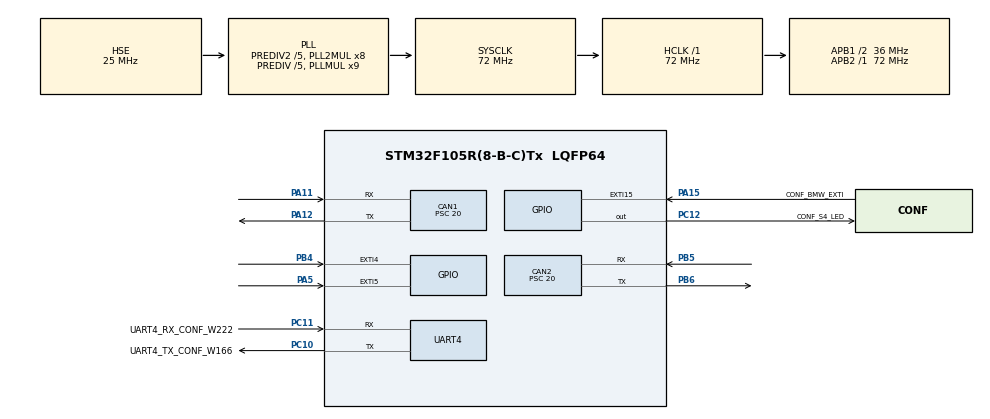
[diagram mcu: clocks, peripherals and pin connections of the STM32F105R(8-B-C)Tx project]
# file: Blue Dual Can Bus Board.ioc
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CAN1.BS1=CAN_BS1_11TQ
CAN1.BS2=CAN_BS2_6TQ
CAN1.CalculateBaudRate=100000
CAN1.CalculateTimeBit=10000
CAN1.CalculateTimeQuantum=555.5555555555555
CAN1.Prescaler=20
CAN2.BS1=CAN_BS1_11TQ
CAN2.BS2=CAN_BS2_6TQ
CAN2.CalculateBaudRate=100000
CAN2.CalculateTimeBit=10000
CAN2.CalculateTimeQuantum=555.5555555555555
CAN2.Prescaler=20
IWDG.Prescaler=IWDG_PRESCALER_64
Mcu.Family=STM32F1
Mcu.Name=STM32F105R(8-B-C)Tx
Mcu.Package=LQFP64
NVIC.CAN1_RX0_IRQn=true\:0\:0\:false\:false\:true\:true\:true
NVIC.CAN2_RX1_IRQn=true\:0\:0\:false\:false\:true\:true\:true
NVIC.EXTI15_10_IRQn=true\:0\:0\:false\:false\:true\:true\:true
NVIC.EXTI4_IRQn=true\:0\:0\:false\:false\:true\:true\:true
NVIC.EXTI9_5_IRQn=true\:0\:0\:false\:false\:true\:true\:true
NVIC.PriorityGroup=NVIC_PRIORITYGROUP_4
NVIC.UART4_IRQn=true\:0\:0\:false\:false\:true\:true\:true
PA11.Mode=CAN_Activate
PA11.Signal=CAN1_RX
PA12.Mode=CAN_Activate
PA12.Signal=CAN1_TX
PA13.Mode=Serial_Wire
PA13.Signal=SYS_JTMS-SWDIO
PA14.Mode=Serial_Wire
PA14.Signal=SYS_JTCK-SWCLK
PA15.GPIO_Label=CONF_BMW_EXTI
PA15.GPIO_ModeDefaultEXTI=GPIO_MODE_IT_RISING_FALLING
PA15.Signal=GPXTI15
PA5.GPIO_ModeDefaultEXTI=GPIO_MODE_IT_RISING_FALLING
PA5.Signal=GPXTI5
PB4.GPIO_ModeDefaultEXTI=GPIO_MODE_IT_RISING_FALLING
PB4.Signal=GPXTI4
PB5.Mode=CAN_Activate
PB5.Signal=CAN2_RX
PB6.Mode=CAN_Activate
PB6.Signal=CAN2_TX
PC10.GPIO_Label=UART4_TX_CONF_W166
PC10.Mode=Asynchronous
PC10.Signal=UART4_TX
PC11.GPIO_Label=UART4_RX_CONF_W222
PC11.Mode=Asynchronous
PC11.Signal=UART4_RX
PC12.GPIO_Label=CONF_S4_LED
PC12.Signal=GPIO_Output
PD0-OSC_IN.Mode=HSE-External-Oscillator
PD0-OSC_IN.Signal=RCC_OSC_IN
PD1-OSC_OUT.Mode=HSE-External-Oscillator
PD1-OSC_OUT.Signal=RCC_OSC_OUT
ProjectManager.HeapSize=0x200
ProjectManager.StackSize=0x400
ProjectManager.TargetToolchain=STM32CubeIDE
RCC.AHBFreq_Value=72000000
RCC.APB1CLKDivider=RCC_HCLK_DIV2
RCC.APB1Freq_Value=36000000
RCC.APB1TimFreq_Value=72000000
RCC.APB2Freq_Value=72000000
RCC.APB2TimFreq_Value=72000000
RCC.HCLKFreq_Value=72000000
RCC.HSEDivPLL=RCC_HSE_PREDIV_DIV5
RCC.HSE_VALUE=25000000
RCC.PLLMUL=RCC_PLL_MUL9
RCC.PLLSourceVirtual=RCC_PLLSOURCE_HSE
RCC.Prediv1Source=RCC_PREDIV1_SOURCE_PLL2
RCC.Prediv2=RCC_HSE_PREDIV2_DIV5
RCC.SYSCLKFreq_VALUE=72000000
RCC.SYSCLKSource=RCC_SYSCLKSOURCE_PLLCLK
RCC.USBFreq_Value=48000000
UART4.VirtualMode=Asynchronous
VP_IWDG_VS_IWDG.Mode=IWDG_Activate
board=custom

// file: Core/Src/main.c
/* USER CODE BEGIN Header */
/**
  ******************************************************************************
  * @file           : main.c
  * @brief          : Main program body
  ******************************************************************************
  * @attention
  *
  * Copyright (c) 2022 STMicroelectronics.
  * All rights reserved.
  *
  * This software is licensed under terms that can be found in the LICENSE file
  * in the root directory of this software component.
  * If no LICENSE file comes with this software, it is provided AS-IS.
  *
  ******************************************************************************
  */
/* USER CODE END Header */
#include "main.h"

CAN_HandleTypeDef hcan1;
CAN_HandleTypeDef hcan2;

IWDG_HandleTypeDef hiwdg;

UART_HandleTypeDef huart4;

/* USER CODE BEGIN PV */
CAN_RxHeaderTypeDef can1_rxHeader; //CAN Bus Rx Header
CAN_RxHeaderTypeDef can2_rxHeader; //CAN Bus Rx Header

CAN_TxHeaderTypeDef can1_txHeader; //CAN Bus Tx Header
CAN_TxHeaderTypeDef can2_txHeader; //CAN Bus Tx Header

uint8_t can1_RX[8] = {0,0,0,0,0,0,0,0};  //CAN1 Bus Receive Buffer
uint8_t can1_TX[8] = {0,0,0,0,0,0,0,0};  //CAN1 Bus Transmit Buffer

uint8_t can2_RX[8] = {0,0,0,0,0,0,0,0};  //CAN2 Bus Receive Buffer
uint8_t can2_TX[8] = {0,0,0,0,0,0,0,0};  //CAN2 Bus Transmit Buffer

CAN_FilterTypeDef canfil; //CAN Bus Filter

uint32_t can1_Mailbox; //CAN Bus Mail box variable
uint32_t can2_Mailbox; //CAN Bus Mail box variable

// just enough for one char to change modes
uint8_t serial_mode[1] = {0};
uint8_t num_str[4] = {0,0,0,0};

// keep some variables in SRAM that survive a reset (as long as power remains)
// https://interrupt.memfault.com/blog/noinit-memory
uint config_loss;
// For GCC or Clang or derived toolchains, use the "section" __attribute__ .
//__attribute__((section(".noinit"))) volatile int magic_number;

// Two non-initialized variables, used to demonstrate keeping information
// through chip reset. Marked 'volatile' to ensure the compiler doesn't optimize
// away the STR's to these addresses
#define RESET_MAGIC 0xDEADBEEF
// magic value used to check if the variables are initialized
__attribute__((section(".noinit"))) volatile uint32_t reset_count_magic;

// reset counter, incremented on every warm reset
__attribute__((section(".noinit"))) volatile uint32_t reset_count;

#define WATCHDOG

// stuff to support the button state machine
enum button_states
{
	IDLE,
	DELAY_1,
	DELAY_2,
	DELAY_3,
	DELAY_4,
	DELAY_5,
	SEND_MSG_1,
	SEND_MSG_2,
	SEND_CLEAR_1,
	SEND_CLEAR_2,
	SEND_CLEAR_3,
	SEND_CLEAR_4,
	SEND_CLEAR_5
};

uint key = 0;
uint key_delay = DELAY_1;
enum button_states current_state = IDLE;
enum button_states next_state = IDLE;
uint last_key_time = 0;
CAN_HandleTypeDef *key_hcan = &hcan2;

// suppress clear msgs ?
int tx_clear_msg = 1;

int print_flag = 1;

struct
{
	uint mute; // star
	uint menu;
	uint phone;
	uint ok;

	// needed for the "MFD undo" code...
	uint up;
	uint down;

} button_time = { 0, 0, 0, 0, 0, 0 };

__attribute__((section(".noinit"))) volatile struct
{
	uint up_next_code;
	uint down_prev_code;
//	uint mute_google;	// try to swap b/w mute and "hey google"
} button_state = { 0x02, 0x03 /*, 0x2b*/};  // RCD330 next/prev by default, otherwise MFD Up 0x22 / Down 0x23

__attribute__((section(".noinit"))) volatile struct
{
	uint can1;
	uint can2;
	uint filters;
	uint stats;
	uint max_illum;
	uint filter_id_en;
	uint filter_id_num;

	uint enable_led;

	uint buttons;
} debug_mode = { 0, 0, 0, 0, 0xdc, 0, 0x5c1, 0, 1};

struct
{
	  uint can1_tx_count;
	  uint can1_rx_count;
	  uint can1_last_rx_tick;
	  uint can1_last_tx_tick;

	  uint can2_tx_count;
	  uint can2_rx_count;
	  uint can2_last_rx_tick;
	  uint can2_last_tx_tick;

	  uint iwdg_msg;
	  uint filter_msg_phone;
	  uint filter_msg_up_next;
	  uint filter_msg_down_prev;
	  uint filter_msg_vol_up;
	  uint filter_msg_vol_down;
	  uint filter_msg_menu;
	  uint filter_msg_mute;
	  uint filter_msg_ok;
	  uint filter_msg_dlc;
	  uint filter_msg_635_illum;

	  uint filter_msg_436_pwr;
	  uint filter_msg_439_pwr;
} can_stats = {0, 0, 0, 0, 0, 0, 0, 0, 0, 0, 0, 0, 0, 0, 0, 0, 0, 0, 0, 0, 0};

#ifndef max
    #define min(a,b) ((a) < (b) ? (a) : (b))
	#define max(a,b) ((a) > (b) ? (a) : (b))
#endif

/* USER CODE END PV */

void SystemClock_Config(void);
static void MX_GPIO_Init(void);
static void MX_CAN1_Init(void);
static void MX_CAN2_Init(void);
static void MX_UART4_Init(void);
static void MX_IWDG_Init(void);
/* USER CODE BEGIN PFP */
HAL_StatusTypeDef HAL_CAN_AddTxMessagex(CAN_HandleTypeDef *hcan, CAN_TxHeaderTypeDef *can_txHeader, uint8_t *can_TX, uint32_t *can_Mailbox);
void UartPrintf(const char *format, ...);
void can_send_button(CAN_HandleTypeDef *hcan, uint key);
/* USER CODE END PFP */

/* USER CODE BEGIN 0 */
void UartPrintf(const char *format, ...)
{
	char buffer[128];
	uint16_t size;
	va_list args;

	va_start(args, format);
	size = vsprintf(buffer, format, args);
	va_end(args);

	if(print_flag)
		HAL_UART_Transmit(&huart4, (uint8_t*)buffer, size, 1000);
}

// send a "fake" button message back to the vehicle MFD (hopefully to undo things...)
void can_send_button(CAN_HandleTypeDef *hcan, uint key)
{
	can2_txHeader.RTR = CAN_RTR_DATA;
	can2_txHeader.IDE = CAN_ID_STD;
	can2_txHeader.TransmitGlobalTime = DISABLE;

	can2_txHeader.StdId = 0x5c1;

	if(hcan == &hcan1)
		can2_txHeader.DLC = 8;
	else
		can2_txHeader.DLC = 1;

	can2_TX[0] = key;

 	for(int i=1; i < can2_txHeader.DLC; i++)
	{
		can2_TX[i] = 0x00;
	}

	HAL_CAN_AddTxMessagex(hcan, (CAN_TxHeaderTypeDef *) &can2_txHeader, can2_TX, &can2_Mailbox);
}

/* USER CODE END 0 */

int main(void)
{
  /* USER CODE BEGIN 1 */
	/*
	 * need this changed/added in the linker script:
	 *
	 * MEMORY
	 * {
	 *   RAM     (xrw)    : ORIGIN = 0x20000000,   LENGTH = 64K - 0x100
	 *   NOINIT  (rwx)    : ORIGIN = 0x20000000 + 64K - 0x100, LENGTH = 0x100
	 *   FLASH    (rx)    : ORIGIN = 0x8000000,   LENGTH = 128K
	 * }
	 *
	 *
	 *   .noinit (NOLOAD):
     * {
     *   KEEP(*(*.noinit*))
     * } > NOINIT
	 */

	// check for loss of data in the non-initialised SRAM variables

	if (reset_count_magic != RESET_MAGIC)
	{
	  reset_count_magic = RESET_MAGIC;
	  reset_count = 0;

	  config_loss = 1;

	  debug_mode.can1 = 0;
	  debug_mode.can2 = 0;
	  debug_mode.enable_led = 0;
	  debug_mode.filter_id_en = 0;
	  debug_mode.filter_id_num = 0x5c1;
	  debug_mode.filters = 0;
	  debug_mode.max_illum = 0xdc;
	  debug_mode.stats = 0;

	  debug_mode.buttons = 1;

	  button_state.up_next_code = 0x02;
	  button_state.down_prev_code = 0x03;
	  //button_state.mute_google = 0x2b;

	}
	else
	{
		config_loss = 0;
		reset_count++;
	}

	// The whole purpose of the Dual CAN Filter project is to fix an issue with upgrading the radio in a Golf Mk5 to an RCD330

	// There are already Chinese "blackbox" CAN filters available to fix some issues with power down & steering wheel buttons.
	// However they don't fix everything, including screen brightness issues:
	// https://rcd330plus.com/showthread.php?tid=6741&page=3

	// it would be really nice to have an open source alternative to these clever mystery boxes...

	// Excellent work on figuring out which CAN message impact on the brightness
	// although choice of h/w seems a bit too complicated:
	// https://oshwlab.com/Mrpanini/canbus6

	// Rather than cobble together the h/w from various bits and pieces, I sought out something that already existed
	// that could be re-purposed.

	// H/W hacked is the 18 in 1 CAN Filter Board on AliExpress/eBay
	// they use either STM32F105 or STM32F107 DUal CAN chips
	// this rules out Arduino IDE as they are not supported yet.
	// so using STM32CubeIDE & HAL Libraries directly

	// About the h/w:
	// Blue boards use SWD and need ST-Link, Green use USART1 (via internal bootloader)

	// Blue has 4 GPIO ports available (conf pins)
	// This provides access to UART5 (Tx) & UART4 (Tx/Rx) + potetially other peripherals...
	// thankfully no need for softwareserial :)

	// "new" Green has only 3 GPIO ports (conf pins), but already has a RED LED & USART1 available.
	// "old" green (Yaseuh original?) seems similar to Blue, except for lack of LED & using USART1
	// the two green boards use completely different GPIO conf pins!
	// the "new" green board is also s/w locked - so needs to be erased first (oh well)

	// CAN S/W Inspired by:

	// Reverse engineered Chinese Boards "milage rollback devices":
	// https://dangerouspayload.com/2020/03/10/hacking-a-mileage-manipulator-can-bus-filter-device/
	// https://giddi.net/posts/reversing-a-canbus-odometer-filter-manipulator/
	// Two independent hacks of these boards
	// Inspired me to learn Ghidra...
	// Found interesting code choices and bugs :)

	// "new" green board: https://i.imgur.com/Oss24pO.jpeg
	// mine came with an STM32F107RB (same PCB)

	// First ideas for the S/W:
	// https://www.dailyduino.com/index.php/2020/06/01/stm32-can-bus/

	// Similar dual can idea:
	// https://github.com/damienmaguire/CAN-BUS-Man-In-The-Middle

	// very helpful stuff here on fixing CAN2 Rx Interrupt issues:
	// although it suffered from the CAN2 Int filter config issue
	// https://community.st.com/s/question/0D50X00009XkXHxSAN/can2-interrupt-not-working
	// https://community.st.com/s/question/0D53W00000Di8EeSAJ/heres-how-to-get-can2-working

	// other useful things:
	// UartPrintf/scanf
	// https://shawnhymel.com/1873/how-to-use-UartPrintf-on-stm32/
	// http://www.emcu.eu/how-to-implement-UartPrintf-for-send-message-via-usb-on-stm32-nucleo-boards-using-atollic/

	// enable floats:
	// https://community.st.com/s/question/0D50X0000B0AEJbSQO/uUartPrintffloat-where-to-set-for-clinker-in-stm32cubeide

	// STM32F1xx Docs:
	// https://www.st.com/resource/en/reference_manual/cd00171190-stm32f101xx-stm32f102xx-stm32f103xx-stm32f105xx-and-stm32f107xx-advanced-arm-based-32-bit-mcus-stmicroelectronics.pdf
	// https://www.st.com/resource/en/datasheet/cd00220364.pdf

	// CAN bit timing:
	// http://www.bittiming.can-wiki.info/

	// STM32 Cabling and CAN connections to the RCD330 Quadlock Wiring Harness (steering button adaptor)
	//
	// On the Blue (SWD) Dual Filter Board:
	// (Note: this matches the "new" green board)
	//
	// CAN1 is the RCD330
	// 	GREEN	CAN High
	//	PURPLE	CAN Low

	// CAN2 is the Vehicle
	// 	BLUE	CAN High
	//	YELLOW	CAN Low

	// PQ Quadlock connector (cheap one)
	//	Green	CAN High
	//	Purple	CAN Low
	// 	YELLOW	12V Battery
	//	BLACK	GND

	// Strategy:
	//	Cut the CAN High/Low connections between the connectors, midway.
	//	Connect the appropriate sides to the Blue CAN board
	//	Note: RCD330 side has the lever connector (female pins), the vehicle is the plain connector (male pins).
	//  Cut the thin YELLOW and BLACK wires (power) that used to go to the original black box.
	//  Tap the Blue boards power into these and re-connect them all together.

	// The Blue board will be shrink wrapped instead of using a case.
	// The USART4 Dupont serial connections (and Gnd) will remain, in case debugging is required.
	// The FTDI serial adaptor will not be permanently connected.

	// Once power consumption is known, an in-line fuse will be added - just in case!!!

  /* USER CODE END 1 */

  /* MCU Configuration--------------------------------------------------------*/

  /* Reset of all peripherals, Initializes the Flash interface and the Systick. */
  HAL_Init();

  /* Configure the system clock */
  SystemClock_Config();

  /* Initialize all configured peripherals */
  MX_GPIO_Init();
  //MX_CAN1_Init();
  //MX_CAN2_Init();
  MX_UART4_Init();
  //MX_IWDG_Init();
  /* USER CODE BEGIN 2 */
  HAL_UART_Receive_IT (&huart4, serial_mode, 1);
  /* USER CODE END 2 */

  /* Infinite loop */
  /* USER CODE BEGIN WHILE */

  uint current_tick = 0;
  uint last_tick = 0;

  // v1.2 works on the Blue Board, with only EXTI on Vehicle CAN Rx
  // Also, IWDG is now only reset by Vehicle CAN Msgs.

  // CONf_S4 is the external LED
  // CONf_W222 is UART4_Rx
  // CONf_W166 is UART4_Tx
  // CONf_BMW is EXTI (Vehicle CAN2 Rx)

  UartPrintf("\r\nDual CAN Filter v1.2 Blue Board (100kb/s) %s [ reset_count %u ]\r\n\r\n", (config_loss) ? "Default Config" : "Existing Config", reset_count);

  if(__HAL_RCC_GET_FLAG(RCC_FLAG_IWDGRST) != RESET)
	  UartPrintf("Reset caused by IWDGRST\r\n\r\n");
  else if(__HAL_RCC_GET_FLAG(RCC_FLAG_PORRST) != RESET)
	  UartPrintf("Reset caused by PORRST\r\n\r\n");
  else if(__HAL_RCC_GET_FLAG(RCC_FLAG_SFTRST) != RESET)
	  UartPrintf("Reset caused by SFTRST\r\n\r\n");
  else
	  UartPrintf("Reset cause unknown\r\n\r\n");

  //__HAL_RCC_CLEAR_RESET_FLAGS();

  UartPrintf("Pausing 5s...\r\n\r\n");

  HAL_Delay(5000);

  UartPrintf("Starting...\r\n\r\n");

  UartPrintf("Going into to Sleep/Stop Mode\r\n\r\n");

#ifdef WATCHDOG

  HAL_SuspendTick();
  HAL_GPIO_WritePin(CONF_S4_LED_GPIO_Port, CONF_S4_LED_Pin, GPIO_PIN_SET);  // turn off
  /* Enter Stop Mode */
  //DBGMCU->CR = 0;
  HAL_PWR_EnterSTOPMode(PWR_LOWPOWERREGULATOR_ON, PWR_STOPENTRY_WFI);
  HAL_NVIC_DisableIRQ(EXTI15_10_IRQn);
  HAL_ResumeTick();

  // need to redo all the initialisation
  //HAL_Init();
  SystemClock_Config();
  MX_GPIO_Init();
  MX_CAN1_Init();
  MX_CAN2_Init();
  MX_UART4_Init();
  HAL_UART_Receive_IT (&huart4, serial_mode, 1);
  MX_IWDG_Init();

#endif

  UartPrintf("EXTI %d - Waking from Sleep Stop Mode\r\n\r\n", (int) EXTI->PR);

  print_flag = 1;

  UartPrintf("Printing: %s\r\n\r\n", (print_flag) ? "On" : "Off");

// using these for EXTI IWDG wakeup (CAN1, CAN2 & USART1)
//  HAL_GPIO_WritePin(GPIOB, OUT1_Pin,1);
//  HAL_GPIO_WritePin(GPIOB, OUT2_Pin,0);
//  HAL_GPIO_WritePin(GPIOB, OUT3_Pin,1);
//  HAL_GPIO_WritePin(GPIOB, CONF_S4_LED_Pin, GPIO_PIN_RESET);

  // CAN1
  canfil.FilterBank = 0;
  canfil.FilterMode = CAN_FILTERMODE_IDMASK;
  canfil.FilterFIFOAssignment = CAN_RX_FIFO0;
  canfil.FilterIdHigh = 0;
  canfil.FilterIdLow = 0;
  canfil.FilterMaskIdHigh = 0;
  canfil.FilterMaskIdLow = 0;
  canfil.FilterScale = CAN_FILTERSCALE_32BIT;
  canfil.FilterActivation = ENABLE;
  canfil.SlaveStartFilterBank = 14;	// important!

  HAL_CAN_ConfigFilter(&hcan1,&canfil);
  HAL_CAN_Start(&hcan1);
  HAL_CAN_ActivateNotification(&hcan1,CAN_IT_RX_FIFO0_MSG_PENDING);

  // CAN2
  canfil.FilterBank = 14;	// important !!
  canfil.FilterMode = CAN_FILTERMODE_IDMASK;
  canfil.FilterFIFOAssignment = CAN_RX_FIFO1;
  canfil.FilterIdHigh = 0;
  canfil.FilterIdLow = 0;
  canfil.FilterMaskIdHigh = 0;
  canfil.FilterMaskIdLow = 0;
  canfil.FilterScale = CAN_FILTERSCALE_32BIT;
  canfil.FilterActivation = ENABLE;
  //canfil.FilterActivation = DISABLE;
  canfil.SlaveStartFilterBank = 14;	// important !!!

  HAL_CAN_ConfigFilter(&hcan2,&canfil);
  HAL_CAN_Start(&hcan2);
  HAL_CAN_ActivateNotification(&hcan2,CAN_IT_RX_FIFO1_MSG_PENDING);

  // don't need to do much here (just print stats), as CAN Filters & USART are interrupt driven
  while (1)
  {
	  // Get time elapsed
	  current_tick = HAL_GetTick();

	  if(debug_mode.stats)
	  {
//		  if(current_tick % 10000 == 0)
		  if(current_tick - last_tick > 10000)
		  {
			  UartPrintf("\r\nStats (elasped time %u sec, reset count %u):\r\n", current_tick/1000, reset_count);
			  UartPrintf("can1_tx_cnt:\t\t%d\r\n", can_stats.can1_tx_count);
			  UartPrintf("can1_rx_cnt:\t\t%d\r\n", can_stats.can1_rx_count);
			  UartPrintf("can2_tx_cnt:\t\t%d\r\n", can_stats.can2_tx_count);
			  UartPrintf("can2_rx_cnt:\t\t%d\r\n", can_stats.can2_rx_count);

			  UartPrintf("iwdg_msg:\t\t%d\r\n", can_stats.iwdg_msg);
			  UartPrintf("filter_msg_phone:\t%d\r\n", can_stats.filter_msg_phone);
			  UartPrintf("filter_msg_up_next:\t%d\r\n", can_stats.filter_msg_up_next);
			  UartPrintf("filter_msg_down_prev:\t%d\r\n", can_stats.filter_msg_down_prev);
			  UartPrintf("filter_msg_vol_up:\t%d\r\n", can_stats.filter_msg_vol_up);
			  UartPrintf("filter_msg_vol_down:\t%d\r\n", can_stats.filter_msg_vol_down);
			  UartPrintf("filter_msg_menu:\t%d\r\n", can_stats.filter_msg_menu);
			  UartPrintf("filter_msg_mute:\t%d\r\n", can_stats.filter_msg_mute);
			  UartPrintf("filter_msg_ok:\t\t%d\r\n", can_stats.filter_msg_ok);
			  UartPrintf("filter_msg_dlc:\t\t%d\r\n", can_stats.filter_msg_dlc);
			  UartPrintf("filter_msg_436_pwr:\t%d\r\n", can_stats.filter_msg_436_pwr);
			  UartPrintf("filter_msg_439_pwr:\t%d\r\n", can_stats.filter_msg_439_pwr);
			  UartPrintf("filter_msg_635_illum:\t%d\r\n\r\n", can_stats.filter_msg_635_illum);

			  last_tick = current_tick;
		  }
	  }

	// button send state machine
	// main loop runs every 100ms (the standard button message interval)
	// delay a bit (i.e. wait for last button completion), then cycle through the required set/clear messages

	switch(current_state)
	{
		case IDLE :
			last_key_time = HAL_GetTick();

			if(key == 0)
			{
				next_state = IDLE;
			}
			else
			{
				if(debug_mode.buttons)
					UartPrintf("IDLE %u\t[%u]\r\n", key, current_tick-last_key_time);

				next_state = key_delay;  // choose which state to start (i.e. variable delay) - default DELAY_1
			}
		break;

		// each delay adds 100ms
		case DELAY_1 :
			next_state = DELAY_2;
		break;
		case DELAY_2 :
			next_state = DELAY_3;
		break;
		case DELAY_3 :
			next_state = DELAY_4;
		break;
		case DELAY_4 :
			next_state = DELAY_5;
		break;
		case DELAY_5 :
			next_state = SEND_MSG_1;
		break;

		case SEND_MSG_1 :
			if(debug_mode.buttons)
				UartPrintf("SEND_MSG_1 0x%02x\t[%u]\r\n", key, current_tick-last_key_time);
			can_send_button(key_hcan, key);
			next_state = SEND_MSG_2;
			last_key_time = HAL_GetTick();
		break;
		case SEND_MSG_2 :
			if(debug_mode.buttons)
				UartPrintf("SEND_MSG_2 0x%02x\t[%u]\r\n", key, current_tick-last_key_time);
			can_send_button(key_hcan, key);
			next_state = SEND_CLEAR_1;
			last_key_time = HAL_GetTick();
		break;

		case SEND_CLEAR_1 :
			if(debug_mode.buttons)
				UartPrintf("SEND_CLEAR_1\t[%u]\r\n", current_tick-last_key_time);
			can_send_button(key_hcan, 0x00);
			next_state = SEND_CLEAR_2;
			last_key_time = HAL_GetTick();
		break;
		case SEND_CLEAR_2 :
			if(debug_mode.buttons)
				UartPrintf("SEND_CLEAR_2\t[%u]\r\n", current_tick-last_key_time);
			can_send_button(key_hcan, 0x00);
			next_state = SEND_CLEAR_3;
			last_key_time = HAL_GetTick();
		break;
		case SEND_CLEAR_3 :
			if(debug_mode.buttons)
				UartPrintf("SEND_CLEAR_3\t[%u]\r\n", current_tick-last_key_time);
			can_send_button(key_hcan, 0x00);
			next_state = SEND_CLEAR_4;
			last_key_time = HAL_GetTick();
		break;
		case SEND_CLEAR_4 :
			if(debug_mode.buttons)
				UartPrintf("SEND_CLEAR_4\t[%u]\r\n", current_tick-last_key_time);
			can_send_button(key_hcan, 0x00);
			next_state = SEND_CLEAR_5;
			last_key_time = HAL_GetTick();
		break;
		case SEND_CLEAR_5 :
			if(debug_mode.buttons)
				UartPrintf("SEND_CLEAR_5\t[%u]\r\n", current_tick-last_key_time);
			can_send_button(key_hcan, 0x00);
			key = 0;
			next_state = IDLE;
			last_key_time = HAL_GetTick();
		break;

		default :
			UartPrintf("Default - Error\t[%u]\r\n", current_tick);
		break;
	}

	current_state = next_state;

	HAL_Delay(100);  // match the max CAN msg rate for button presses...

    /* USER CODE END WHILE */

  }
}

void SystemClock_Config(void)
{
  RCC_OscInitTypeDef RCC_OscInitStruct = {0};
  RCC_ClkInitTypeDef RCC_ClkInitStruct = {0};

  /** Initializes the RCC Oscillators according to the specified parameters
  * in the RCC_OscInitTypeDef structure.
  */
  RCC_OscInitStruct.OscillatorType = RCC_OSCILLATORTYPE_LSI|RCC_OSCILLATORTYPE_HSE;
  RCC_OscInitStruct.HSEState = RCC_HSE_ON;
  RCC_OscInitStruct.HSEPredivValue = RCC_HSE_PREDIV_DIV5;
  RCC_OscInitStruct.HSIState = RCC_HSI_ON;
  RCC_OscInitStruct.LSIState = RCC_LSI_ON;
  RCC_OscInitStruct.Prediv1Source = RCC_PREDIV1_SOURCE_PLL2;
  RCC_OscInitStruct.PLL.PLLState = RCC_PLL_ON;
  RCC_OscInitStruct.PLL.PLLSource = RCC_PLLSOURCE_HSE;
  RCC_OscInitStruct.PLL.PLLMUL = RCC_PLL_MUL9;
  RCC_OscInitStruct.PLL2.PLL2State = RCC_PLL2_ON;
  RCC_OscInitStruct.PLL2.PLL2MUL = RCC_PLL2_MUL8;
  RCC_OscInitStruct.PLL2.HSEPrediv2Value = RCC_HSE_PREDIV2_DIV5;
  if (HAL_RCC_OscConfig(&RCC_OscInitStruct) != HAL_OK)
  {
    Error_Handler();
  }
  /** Initializes the CPU, AHB and APB buses clocks
  */
  RCC_ClkInitStruct.ClockType = RCC_CLOCKTYPE_HCLK|RCC_CLOCKTYPE_SYSCLK
                              |RCC_CLOCKTYPE_PCLK1|RCC_CLOCKTYPE_PCLK2;
  RCC_ClkInitStruct.SYSCLKSource = RCC_SYSCLKSOURCE_PLLCLK;
  RCC_ClkInitStruct.AHBCLKDivider = RCC_SYSCLK_DIV1;
  RCC_ClkInitStruct.APB1CLKDivider = RCC_HCLK_DIV2;
  RCC_ClkInitStruct.APB2CLKDivider = RCC_HCLK_DIV1;

  if (HAL_RCC_ClockConfig(&RCC_ClkInitStruct, FLASH_LATENCY_2) != HAL_OK)
  {
    Error_Handler();
  }
  /** Configure the Systick interrupt time
  */
  __HAL_RCC_PLLI2S_ENABLE();
}

static void MX_CAN1_Init(void)
{

  hcan1.Instance = CAN1;
  hcan1.Init.Prescaler = 20;
  hcan1.Init.Mode = CAN_MODE_NORMAL;
  hcan1.Init.SyncJumpWidth = CAN_SJW_1TQ;
  hcan1.Init.TimeSeg1 = CAN_BS1_11TQ;
  hcan1.Init.TimeSeg2 = CAN_BS2_6TQ;
  hcan1.Init.TimeTriggeredMode = DISABLE;
  hcan1.Init.AutoBusOff = DISABLE;
  hcan1.Init.AutoWakeUp = DISABLE;
  hcan1.Init.AutoRetransmission = DISABLE;
  hcan1.Init.ReceiveFifoLocked = DISABLE;
  hcan1.Init.TransmitFifoPriority = DISABLE;
  if (HAL_CAN_Init(&hcan1) != HAL_OK)
  {
    Error_Handler();
  }

}

static void MX_CAN2_Init(void)
{

  hcan2.Instance = CAN2;
  hcan2.Init.Prescaler = 20;
  hcan2.Init.Mode = CAN_MODE_NORMAL;
  hcan2.Init.SyncJumpWidth = CAN_SJW_1TQ;
  hcan2.Init.TimeSeg1 = CAN_BS1_11TQ;
  hcan2.Init.TimeSeg2 = CAN_BS2_6TQ;
  hcan2.Init.TimeTriggeredMode = DISABLE;
  hcan2.Init.AutoBusOff = DISABLE;
  hcan2.Init.AutoWakeUp = DISABLE;
  hcan2.Init.AutoRetransmission = DISABLE;
  hcan2.Init.ReceiveFifoLocked = DISABLE;
  hcan2.Init.TransmitFifoPriority = DISABLE;
  if (HAL_CAN_Init(&hcan2) != HAL_OK)
  {
    Error_Handler();
  }

}

static void MX_IWDG_Init(void)
{

  hiwdg.Instance = IWDG;
  hiwdg.Init.Prescaler = IWDG_PRESCALER_64;
  hiwdg.Init.Reload = 4095;
  if (HAL_IWDG_Init(&hiwdg) != HAL_OK)
  {
    Error_Handler();
  }

}

static void MX_UART4_Init(void)
{

  huart4.Instance = UART4;
  huart4.Init.BaudRate = 115200;
  huart4.Init.WordLength = UART_WORDLENGTH_8B;
  huart4.Init.StopBits = UART_STOPBITS_1;
  huart4.Init.Parity = UART_PARITY_NONE;
  huart4.Init.Mode = UART_MODE_TX_RX;
  huart4.Init.HwFlowCtl = UART_HWCONTROL_NONE;
  huart4.Init.OverSampling = UART_OVERSAMPLING_16;
  if (HAL_UART_Init(&huart4) != HAL_OK)
  {
    Error_Handler();
  }

}

static void MX_GPIO_Init(void)
{
  GPIO_InitTypeDef GPIO_InitStruct = {0};

  /* GPIO Ports Clock Enable */
  __HAL_RCC_GPIOD_CLK_ENABLE();
  __HAL_RCC_GPIOA_CLK_ENABLE();
  __HAL_RCC_GPIOC_CLK_ENABLE();
  __HAL_RCC_GPIOB_CLK_ENABLE();

  /*Configure GPIO pin Output Level */
  HAL_GPIO_WritePin(CONF_S4_LED_GPIO_Port, CONF_S4_LED_Pin, GPIO_PIN_RESET);

  /*Configure GPIO pins : PA5 CONF_BMW_EXTI_Pin */
//  GPIO_InitStruct.Pin = GPIO_PIN_11|CONF_BMW_EXTI_Pin;

  // CAN1 Rx (PA11) EXTI
  GPIO_InitStruct.Pin = GPIO_PIN_11;
  GPIO_InitStruct.Mode = GPIO_MODE_IT_RISING_FALLING;
  GPIO_InitStruct.Pull = GPIO_NOPULL;
  HAL_GPIO_Init(GPIOA, &GPIO_InitStruct);

  /*Configure GPIO pin : CONF_S4_LED_Pin */
  GPIO_InitStruct.Pin = CONF_S4_LED_Pin;
  GPIO_InitStruct.Mode = GPIO_MODE_OUTPUT_PP;
  GPIO_InitStruct.Pull = GPIO_NOPULL;
  GPIO_InitStruct.Speed = GPIO_SPEED_FREQ_LOW;
  HAL_GPIO_Init(CONF_S4_LED_GPIO_Port, &GPIO_InitStruct);

  /*Configure GPIO pin : PB4 */
//  GPIO_InitStruct.Pin = GPIO_PIN_4;
//  GPIO_InitStruct.Mode = GPIO_MODE_IT_RISING_FALLING;
//  GPIO_InitStruct.Pull = GPIO_NOPULL;
//  HAL_GPIO_Init(GPIOB, &GPIO_InitStruct);

  /*Configure GPIO pin : CAN2 Rx (PB5) EXTI */
  GPIO_InitStruct.Pin = GPIO_PIN_5;
  GPIO_InitStruct.Mode = GPIO_MODE_IT_RISING_FALLING;
  GPIO_InitStruct.Pull = GPIO_NOPULL;
  HAL_GPIO_Init(GPIOB, &GPIO_InitStruct);

  /* EXTI interrupt init*/
//  HAL_NVIC_SetPriority(EXTI4_IRQn, 0, 0);
//  HAL_NVIC_EnableIRQ(EXTI4_IRQn);

  HAL_NVIC_SetPriority(EXTI9_5_IRQn, 0, 0);
  HAL_NVIC_EnableIRQ(EXTI9_5_IRQn);

  HAL_NVIC_SetPriority(EXTI15_10_IRQn, 0, 0);
  HAL_NVIC_EnableIRQ(EXTI15_10_IRQn);

}

/* USER CODE BEGIN 4 */

// wrapper function to enable Tx debug msgs
HAL_StatusTypeDef HAL_CAN_AddTxMessagex(CAN_HandleTypeDef *hcan, CAN_TxHeaderTypeDef *can_txHeader, uint8_t *can_TX, uint32_t *can_Mailbox)
{
	char *canbus;

	uint tick = HAL_GetTick();
	uint tx_count;

	if(hcan == &hcan1)
	{
		canbus = "CAN1    ";
		can_stats.can1_last_tx_tick = tick;
		tx_count = can_stats.can1_tx_count;
	}
	else
	{
		canbus = "    CAN2";
		can_stats.can2_last_tx_tick = tick;
		tx_count = can_stats.can2_tx_count;
	}

	//if(!(debug_mode.filter_id_en && (debug_mode.filter_id_num != can1_txHeader.StdId)))
	if( (hcan==&hcan1 && debug_mode.can1) || (hcan==&hcan2 && debug_mode.can2) )
	{
		UartPrintf("%8u [%8u] %s Tx  : 0x%.3x ", tick, tx_count, canbus, (int) can_txHeader->StdId);
		UartPrintf("[%d] ", (int) can_txHeader->DLC);

		int i;
		for(i = 0; i < (int) can_txHeader->DLC; i++)
		{
			UartPrintf("0x%.2x ", can_TX[i]);
		}
		UartPrintf("\r\n");
	}

	return HAL_CAN_AddTxMessage(hcan, can_txHeader, can_TX, can_Mailbox);
}

/*
 * CAN1 is connected to the RCD330 CAN bus (used to be connected to the vehicle)
 */

void HAL_CAN_RxFifo0MsgPendingCallback(CAN_HandleTypeDef *hcan1)
{
	HAL_CAN_GetRxMessage(hcan1, CAN_RX_FIFO0, &can1_rxHeader, can1_RX);

	/*
		  txHeader.DLC = 8;
		  txHeader.IDE = CAN_ID_STD;
		  txHeader.RTR = CAN_RTR_DATA;
		  txHeader.StdId = 0x030;
		  txHeader.ExtId = 0x02;
		  txHeader.TransmitGlobalTime = DISABLE;
	*/

	can2_txHeader.RTR = CAN_RTR_DATA;
	can2_txHeader.IDE = CAN_ID_STD;
	can2_txHeader.TransmitGlobalTime = DISABLE;

	// copy over useful stuff for tx-ing
	__disable_irq();

	can2_txHeader.StdId = can1_rxHeader.StdId;
	can2_txHeader.DLC = can1_rxHeader.DLC;

	for(int i=0; i < 8; i++)
	{
		can2_TX[i] = can1_RX[i];
	}

	__enable_irq();

	if(debug_mode.enable_led)
		HAL_GPIO_TogglePin(CONF_S4_LED_GPIO_Port, CONF_S4_LED_Pin);

	can_stats.can1_rx_count++;
	can_stats.can1_last_rx_tick = HAL_GetTick();

#ifdef WATCHDOG
	//HAL_IWDG_Refresh(&hiwdg);
#endif

	if(debug_mode.can1)
	{
		if(!(debug_mode.filter_id_en && (debug_mode.filter_id_num != can2_txHeader.StdId)))
		{

			UartPrintf("%8u [%8u] CAN1       Rx: 0x%.3x ", can_stats.can1_last_rx_tick, can_stats.can1_rx_count, (int) can2_txHeader.StdId);
			UartPrintf("[%d] ", (int) can2_txHeader.DLC);

			int i;
			for(i = 0; i < (int) can2_txHeader.DLC; i++)
			{
				UartPrintf("0x%.2x ", can2_TX[i]);
			}
			UartPrintf("\r\n");
		}
	}

	// default
	if(HAL_CAN_AddTxMessagex(&hcan2, (CAN_TxHeaderTypeDef *) &can2_txHeader, can2_TX, &can2_Mailbox) != HAL_OK)
		UartPrintf("CAN2 Tx Failed - default\r\n");
	can_stats.can2_tx_count++;
}

/*
 * CAN2 is connected to the vehicle CAN (which was connected to the RDC330)
 *
 * It will filter the vehicle CAN messages and send the modified versions via CAN1 to the RCD330
 */
void HAL_CAN_RxFifo1MsgPendingCallback(CAN_HandleTypeDef *hcan2_rx)
{
	HAL_CAN_GetRxMessage(hcan2_rx, CAN_RX_FIFO1, &can2_rxHeader, can2_RX);

	uint curr_tick = HAL_GetTick();

	// defaults
	can1_txHeader.RTR = CAN_RTR_DATA;
	can1_txHeader.IDE = CAN_ID_STD;
	can1_txHeader.TransmitGlobalTime = DISABLE;

	// copy over useful stuff for tx-ing
	// modify as appropriate below...
	__disable_irq();

	can1_txHeader.StdId = can2_rxHeader.StdId;
	can1_txHeader.DLC = can2_rxHeader.DLC;

	for(int i=0; i < can2_rxHeader.DLC; i++)
	{
		can1_TX[i] = can2_RX[i];
	}

	__enable_irq();

	can1_txHeader.RTR = CAN_RTR_DATA;
	can1_txHeader.IDE = CAN_ID_STD;
	can1_txHeader.TransmitGlobalTime = DISABLE;

	if(debug_mode.enable_led)
		HAL_GPIO_TogglePin(CONF_S4_LED_GPIO_Port, CONF_S4_LED_Pin);

	can_stats.can2_rx_count++;
	can_stats.can2_last_rx_tick = curr_tick;

	if(debug_mode.can2)
	{
		if(!(debug_mode.filter_id_en && (debug_mode.filter_id_num != can1_txHeader.StdId)))
		{
				UartPrintf("%8u [%8u]     CAN2   Rx: 0x%.3x ", can_stats.can2_last_rx_tick, can_stats.can2_rx_count, (int) can1_txHeader.StdId);
				UartPrintf("[%d] ", (int) can1_txHeader.DLC);

				int i;
				for(i = 0; i < (int) can1_txHeader.DLC; i++)
				{
					UartPrintf("0x%.2x ", can1_TX[i]);
				}
				UartPrintf("\r\n");
		}
	}

	/*
	 * This is the CAN Filtering behaviour of the Chinese black box adapter cable:
	 *
	 * Watchdog:
	 *
	 * If StdID == 2c3 (Ignition Position) (or 575 PWR, depending on version):
     *   Reset the Watchdog timeout
     *
     *
     * Steering wheel buttons:
     *
     * If StdID == 5c1:
     *         5c1 x [ 1E/1D X X X X X X X ] => 5c1 8 [ 1a 0 0 0 0 0 0 0 ]     Phone
     *         where (a) is sram[0]
     *         5c1 x [ 22 X X X X X X X ]    => 5c1 8 [ (a)   0 0 0 0 0 0 0 ]  Up/Next based on Menu or Ok last pressed
     *         5c1 x [ 23 X X X X X X X ]    => 5c1 8 [ (a+1) 0 0 0 0 0 0 0 ]  Down/Prev based on Menu or Ok last pressed
     *         5c1 x [ 0a X X X X X X X ]    => 5c1 8 [ 0a    0 0 0 0 0 0 0 ]  Press Menu => MK5 Mode (MFD Up/Down)
     *         SRAM:   (a) = 0x22
     *                 (a+1) = 0x23
     *         5c1 x [ 28 X X X X X X X ]    => 5c1 8 [ 28 0 0 0 0 0 0 0 ]     Press Ok => RCD330 Mode (Track Next/Prev)
     *         SRAM:   (a) = 2
     *                 (a+1) = 3
     *         5c1 x [  N X X X X X X X ]    => 5c1 8 [  N 0 0 0 0 0 0 0 ]     All other messages of any length are fixed to 8 data bytes
     *
     *
     * Power/shutodwn:
     *
     * Note: Y = un-initialised data, the bytes are not explicitly cleared or copied from Rx buffer (so maybe random?)
     *       This implementation will copy them across
     *
     * If StdID == 436 && DLC == 8
     *         436 8 [ 1 X X X X 6 X X ]     => 436 6 [ 1 Y Y Y Y Y 6 ]
     *                                       => 439 6 [ 1 Y Y Y Y Y 6 ]
     *
     * If StdID == 439 && DLC == 8
     *         439 8 [ 1 X X X X 6 X X ]     => 439 6 [ 1 Y Y Y Y Y 6 ]
	 *
	 */

	// IWDG
	if(can1_txHeader.StdId == 0x2c3 || can1_txHeader.StdId == 0x575)
	{
#ifdef WATCHDOG
		HAL_IWDG_Refresh(&hiwdg);
#endif

		can_stats.iwdg_msg++;

		if(HAL_CAN_AddTxMessagex(&hcan1, (CAN_TxHeaderTypeDef *) &can1_txHeader, can1_TX, &can1_Mailbox) != HAL_OK)
			UartPrintf("CAN1 Tx Failed - IWDG\r\n");
		can_stats.can1_tx_count++;
	}
	else
	// Steering Buttons
	if(can1_txHeader.StdId == 0x5c1)
	{
		/*
		 * 0x5c1 Data[0] button
		 * 0x00 No buttons pressed
		 * 0x06 Volume up
		 * 0x07 Volume down
		 * 0x2b mute
		 * 0x1a phone
		 * 0x0a menu
		 * 0x22 up
		 * 0x23 down
		 * 0x28 ok
		 */

		// default is to tx msgs (long press buttons will suppress this)
		int tx_msg = 1;

		// default full delay for new button press requests in state machine...
		key_delay = DELAY_1;

		// if new msg is not a clear, new button sequence so disable the clear suppression flag
		// needed for short press mute, where we send a completely new msg (so discard old mute msgs)
		if(tx_clear_msg == 0)
			if(can1_TX[0] != 0x00)
				tx_clear_msg = 1;

		// presumably button active msgs are sent every 100ms while pressed
		// as soon as the clear msgs 0x00 arrives, check the time from 1st active msg.

		if(can1_TX[0] == 0x00)	// ************** Clear
		{
			// all buttons off, so check for a long press on useful buttons

			// note that currently the msgs are still sent via the filter code below
			// we are not yet stopping messages getting to the radio, only changing which button is being identified...
			// in future, perhaps we can block the short msgs in the filter and send them manually via the short press detection in this routine...

			// ************** Up
			// if in RCD330 mode, we want to fake a down msg to the MFD, so it does not seem impacted
			// these might be sent too quickly, so might have to build a 100ms state machine triggered in the main loop  - just to send button presses...?

			// Up Cleared
			if(button_time.up > 0)
			{
				uint dur = curr_tick - button_time.up;

				// check for RCD330 mode
				if(button_state.up_next_code == 0x02)
				{
					if(debug_mode.buttons)
					{
						UartPrintf("CAN2 Up RCD330 (clear) - send fake down\t[%u]\r\n", dur);
					}

					// need to trigger a state machine button send in the main routine...

					key = 0x23;
					key_delay = DELAY_2;
					key_hcan = &hcan2;

				}
				button_time.up = 0;
			}

			// Down cleared
			if(button_time.down > 0)
			{
				uint dur = curr_tick - button_time.down;

				// check for RCD330 mode
				if(button_state.up_next_code == 0x02)
				{
					if(debug_mode.buttons)
					{
						UartPrintf("CAN2 Down RCD330 (clear) - send fake up\t[%u]\r\n", dur);
					}

					// need to trigger a state machine button send in the main routine...

					key = 0x22;
					key_delay = DELAY_2;
					key_hcan = &hcan2;
				}
				button_time.down = 0;
			}

			// ************** Mute (Star)
			// Short Press Mute, Long press "Google Assitant"

			// check for a long press (> 1sec)
			if(button_time.mute > 0)
			{
				uint dur = curr_tick - button_time.mute;

				if(dur > 1000)
				{
					// long press mute will be handled in the main button route (not here in the clear routine)
					// this is so the long press can be activated while the button is still being pressed (rather than on release)
					// so long press will hijack the real active msgs below.

					// note RCD330 still only activates Google Assistant on button release...

					if(debug_mode.buttons)
					{
						UartPrintf("CAN2 Mute Long press (clear)\t[%u]\r\n", dur);
					}
//					can1_TX[0] = (uint8_t) 0x2a;
				}
				else
				{
					// only send short press mute here
					// short press mute is done as a new button press (so there will be a delay)

					if(debug_mode.buttons)
					{
						UartPrintf("CAN2 Mute Short press (clear)\t[%u]\r\n", dur);
					}

					// suppress remaining mute clear msgs
					tx_clear_msg = 0;

					// request a completely new mute button be sent
					key = 0x2b;
					key_delay = SEND_MSG_1;	// skip delay
					key_hcan = &hcan1;
				}

				button_time.mute = 0;
			}

			//************** menu button clear
			// swap between MFD & RCD330 Mode (default) using short/long press of menu button

			if(button_time.menu > 0)
			{
				int dur = curr_tick - button_time.menu;

				if(dur > 1000)
				{
					if(debug_mode.buttons)
					{
						UartPrintf("CAN2 Menu Long press (clear)\t[%u]\r\n", dur);
					}

					//button_state.up_next_code = 0x02;
					//button_state.down_prev_code = 0x03;
					////button_state.mute_google = 0x2b;
				}
				else
				{
					if(debug_mode.buttons)
					{
						UartPrintf("CAN2 Menu Short press (clear)\t[%u]\r\n", dur);
					}
					button_state.up_next_code = 0x22;
					button_state.down_prev_code = 0x23;
					//button_state.mute_google = 0x2a;
				}
				button_time.menu = 0;
			}

			// ************** ok ?

			if(button_time.ok > 0)
			{
				int dur = curr_tick - button_time.ok;

				if(dur > 1000)
				{
					if(debug_mode.buttons)
					{
						UartPrintf("CAN2 Ok Long press\t[%u]\r\n", dur);
					}
				}
				else
				{
					if(debug_mode.buttons)
					{
						UartPrintf("CAN2 Ok Short press\t[%u]\r\n", dur);
					}
				}
				button_time.ok = 0;
			}
		} // ************** End of clear msg handler
		else  // below here are the individual button filters
		if(can1_TX[0] == 0x1d || can1_TX[0] == 0x1e) // Some unknown buttons => Phone
		{
			// this is code from the Chinese can filter, might not be applicable to the Golf Mk5?

			uint8_t old_data = can1_TX[0];
			can1_TX[0] = (uint8_t) 0x1a;

			can_stats.filter_msg_phone++;

			if(debug_mode.filters)
			{
				UartPrintf("CAN2 Filter [%8u]:\t5c1 [X] %02x XX XX XX XX XX XX XX\t==>\t5c1 [8] 1a 00 00 00 00 00 00 00\r\n", can_stats.can2_last_rx_tick, old_data);
			}
		}
		else
		if(can1_TX[0] == 0x22) // ************** Up / Next
		{
			// Note the Up/Down buttons are a pain as they always change the MFD
			// By hitting "menu" it is possible to stop them affecting the radius (i.e. MFD only mode)
			// but this is still crap, annoying behaviour

			// Perhaps it is possible to "undo" the MFD changes while in "radio" mode?
			// We could send the opposite command back to the car and hope it updates the MFD.
			// i.e. press "ok" (radio mode), "up"=next (0x06 is sent to radio, 0x23,0x00 is sent via CAN1 to the car)
			//                             "down"=prev (0x07 is sent to radio, 0x22,0x00 is sent to car)

			// if this happens quick enough, maybe we won't notice the MFD glitching...?

			// used to track up button release in clear code above - for fake down
			if(button_time.up == 0)
			{
				// was off, so save time of first press msg
				button_time.up = curr_tick;
			}

			can1_TX[0] = (uint8_t) button_state.up_next_code;

			can_stats.filter_msg_up_next++;

			if(debug_mode.filters)
			{
				UartPrintf("CAN2 Filter [%8u]:\t5c1 [X] 22 XX XX XX XX XX XX XX\t==>\t5c1 [8] %02x 00 00 00 00 00 00 00\r\n", can_stats.can2_last_rx_tick, can1_TX[0]);
			}
		}
		else
		if(can1_TX[0] == 0x23) // ************** Down / Prev
		{
			// used to track down button release in clear code above - for fake up
			if(button_time.down == 0)
			{
				// was off, so save time of first press msg
				button_time.down = curr_tick;
			}

			can1_TX[0] = (uint8_t) button_state.down_prev_code;

			can_stats.filter_msg_down_prev++;

			if(debug_mode.filters)
			{
				UartPrintf("CAN2 Filter [%8u]:\t5c1 [X] 23 XX XX XX XX XX XX XX\t==>\t5c1 [8] %02x 00 00 00 00 00 00 00\r\n", can_stats.can2_last_rx_tick, can1_TX[0]);
			}
		}
		else
		if(can1_TX[0] == 0x2b) // ************** Mute / google
		{
			// check for long press
			if(button_time.mute == 0)
			{
				// was off, so save time of first press msg
				button_time.mute = curr_tick;
			}

			// handle long press detection, while still being pressed
			uint dur = curr_tick - button_time.mute;

			// assuming a long press is typically around 1 sec
			// detect at 800ms, which should allow at least 2 modified msgs through, before the button is release
			if(dur > 800)
			{
				if(debug_mode.buttons)
				{
					UartPrintf("CAN2 Mute Long press (active)\t[%u]\r\n", dur);
				}
				can1_TX[0] = (uint8_t) 0x2a;
			}
			else
			{
				// flag to not send mute msgs immediately
				// check the clear msgs above and send based on short/long press...
				tx_msg = 0;
			}
		}
		else
		if(can1_TX[0] == 0x0a) // ************** Menu, switch up/next functions (+google/seek testing)
		{
			// check for long press
			if(button_time.menu == 0)
			{
				// was off, so save time of first press msg
				button_time.menu = curr_tick;
			}

			// handle long press detection, while still being pressed
			uint dur = curr_tick - button_time.menu;

			// assuming a long press is typically around 1 sec
			// detect at 800ms, which should allow at least 2 modified msgs through, before the button is release
			if(dur > 800)
			{
				if(debug_mode.buttons)
				{
					UartPrintf("CAN2 Menu Long press (active)\t[%u]\r\n", dur);
				}

				button_state.up_next_code = 0x02;
				button_state.down_prev_code = 0x03;
				//button_state.mute_google = 0x2b;
			}
			else
			{
				// flag to not send menu msgs immediately
				// check the clear msgs above and send based on short/long press...
				tx_msg = 1;
			}

			can_stats.filter_msg_menu++;

			if(debug_mode.filters)
			{
				UartPrintf("CAN2 Filter [%8u]:\t5c1 [X] 0a XX XX XX XX XX XX XX\t==>\t5c1 [8] 0a 00 00 00 00 00 00 00\r\n", can_stats.can2_last_rx_tick);
			}
		}
		else
		if(can1_TX[0] == 0x28) // ************** Ok, switch to next/prev functions (+ vol/mute)
		{
			// it would be good to remove the dependancy on "ok" to switch to radio mode
			// this is because "ok" still affects the MFD on some screens which can be annoying

			// the proposal is to use "menu" long press to toggle the mode
			// as "menu" has no impact on my Golf Mk5 midline (MFD) screen
			// can probably just use "menu" short press to toggle

			// check for long press
			if(button_time.ok == 0)
			{
				// was off, so save time of first press msg
				button_time.ok = curr_tick;
			}

			can_stats.filter_msg_ok++;

			if(debug_mode.filters)
			{
				UartPrintf("CAN2 Filter [%8u]:\t5c1 [X] 28 XX XX XX XX XX XX XX\t==>\t5c1 [8] 28 00 00 00 00 00 00 00\r\n", can_stats.can2_last_rx_tick);
			}
		}
		else // ************** default to original msg but forcing 8 byte length
		{
			if(debug_mode.filters)
			{
				UartPrintf("CAN2 Filter [%8u]:\t5c1 [X] %02x XX XX XX XX XX XX XX\t==>\t5c1 [8] %02x 00 00 00 00 00 00 00\r\n", can_stats.can2_last_rx_tick, can1_TX[0], can1_TX[0]);
			}
		}

		// all 0x5c1 are forced to DLC 8
		can1_txHeader.DLC = (uint32_t) 8;
		can_stats.filter_msg_dlc++;

		// clear all bytes but first
		for(int i = 1; i < 8; i++)
			can1_TX[i] = (uint8_t) 0x00;

		// send modified msg
		if(tx_msg)
		{
			if(!(can1_TX[0] == 0x00 && tx_clear_msg == 0))
			{
				if(HAL_CAN_AddTxMessagex(&hcan1, (CAN_TxHeaderTypeDef *) &can1_txHeader, can1_TX, &can1_Mailbox) != HAL_OK)
					UartPrintf("CAN1 Tx Failed - 0x5c1 (%02x)\r\n", can1_TX[0]);
				can_stats.can1_tx_count++;
			}
		}
	}
	else
	// ************** Power Down ???  These messages seem to be from the RCD330 to the car
	if(can1_txHeader.StdId == 0x436 && can1_txHeader.DLC == 8 && can1_TX[0] == 0x01 && can1_TX[5] == 0x06)
	{
		if(debug_mode.filters)
		{
			UartPrintf("CAN2 Filter [%8u]:\t436 [8] 01 XX XX XX XX 06 XX XX\t==>\t436 [6] 01 XX XX XX XX 06\r\n", can_stats.can2_last_rx_tick);
			UartPrintf("                                                        ==>\t439 [6] 01 XX XX XX XX 06\r\n");
		}

		can_stats.filter_msg_436_pwr++;

		// reduce length
		can1_txHeader.DLC = (uint32_t) 6;

		// send 1st 0x436 message
		if(HAL_CAN_AddTxMessagex(&hcan1, (CAN_TxHeaderTypeDef *) &can1_txHeader, can1_TX, &can1_Mailbox) != HAL_OK)
			UartPrintf("CAN1 Tx Failed - 0x436\r\n");
		can_stats.can1_tx_count++;

		// send 2nd 0x439 message
		can1_txHeader.StdId = (uint32_t) 0x439;
		if(HAL_CAN_AddTxMessagex(&hcan1, (CAN_TxHeaderTypeDef *) &can1_txHeader, can1_TX, &can1_Mailbox) != HAL_OK)
			UartPrintf("CAN1 Tx Failed - 0x439\r\n");
		can_stats.can1_tx_count++;
	}
	else
	if(can1_txHeader.StdId == 0x439 && can1_txHeader.DLC == 8 && can1_TX[0] == 0x01 && can1_TX[5] == 0x06)
	{
		if(debug_mode.filters)
		{
			UartPrintf("CAN2 Filter [%8u]:\t439 [8] 01 XX XX XX XX 06 XX XX\t==>\t439 [6] 01 XX XX XX XX 06\r\n", can_stats.can2_last_rx_tick);
		}

		can_stats.filter_msg_439_pwr++;

		// reduce length
		can1_txHeader.DLC = (uint32_t) 6;

		// send modified message
		if(HAL_CAN_AddTxMessagex(&hcan1, (CAN_TxHeaderTypeDef *) &can1_txHeader, can1_TX, &can1_Mailbox) != HAL_OK)
			UartPrintf("CAN1 Tx Failed - 0x439 2\r\n");
		can_stats.can1_tx_count++;
	}
	else
	// ************** Illumination
	if(can1_txHeader.StdId == 0x635 && can1_txHeader.DLC == 3 && can1_TX[0] == 0x00 && can1_TX[1] == 0x00 && can1_TX[2] == 0x00)
	{
		// from observation, when lights are on, data[0] (backlight) varies 0x1d-0x62 (based on dash brightness setting).
		// this will be sent through without changes.

		// when lights are off, this is set to 0x00, RCD330 then uses data[2] for max brightness level
		// max brightness data[2] seems to be 0xfd, 0xffe & 0xff seem to be dimmer...
		// default 0xdc seems to be ok...

		if(debug_mode.filters)
			UartPrintf("CAN2 Filter [%8u]:\t635 [3] 00 00 00               \t==>\t635 [3] 00 00 %02x\r\n", can_stats.can2_last_rx_tick, debug_mode.max_illum);

		can1_TX[2] = (uint8_t) debug_mode.max_illum;
		can_stats.filter_msg_635_illum++;

		// send modified msg
		if(HAL_CAN_AddTxMessagex(&hcan1, (CAN_TxHeaderTypeDef *) &can1_txHeader, can1_TX, &can1_Mailbox) != HAL_OK)
			UartPrintf("CAN1 Tx Failed - 0x635\r\n");
		can_stats.can1_tx_count++;
	}
	else
	{
		// ************** default is to send remaining msgs unchanged
		if(HAL_CAN_AddTxMessagex(&hcan1, (CAN_TxHeaderTypeDef *) &can1_txHeader, can1_TX, &can1_Mailbox) != HAL_OK)
			UartPrintf("CAN1 Tx Failed - default\r\n");
		can_stats.can1_tx_count++;
	}

}

void HAL_UART_RxCpltCallback(UART_HandleTypeDef *huart)
{
    // real time debug options
    switch(*serial_mode)
    {
    	case '1':
    		debug_mode.can1 = !debug_mode.can1;
    		UartPrintf("Debug CAN1 mode: %s\r\n", (debug_mode.can1) ? "On" : "Off");
    	break;

    	case '2':
        	debug_mode.can2 = !debug_mode.can2;
            UartPrintf("Debug CAN2 mode: %s\r\n", (debug_mode.can2) ? "On" : "Off");
       	break;

    	case 'f':
        	debug_mode.filters = !debug_mode.filters;
            UartPrintf("Debug filters mode: %s\r\n", (debug_mode.filters) ? "On" : "Off");
       	break;

    	case 's':
        	debug_mode.stats = !debug_mode.stats;
            UartPrintf("Debug stats mode: %s\r\n", (debug_mode.stats) ? "On" : "Off");
       	break;

    	case 'i':
        	if(debug_mode.max_illum == 0xff)
        		debug_mode.max_illum = 0x00;
        	else
        		debug_mode.max_illum++;
            UartPrintf("Debug max_illum mode: %02x\r\n", debug_mode.max_illum);
       	break;

    	case 'p':
        	debug_mode.filter_id_en = !debug_mode.filter_id_en;
            UartPrintf("Debug filter_id mode [%02x]: %s\r\n", debug_mode.filter_id_num, (debug_mode.filter_id_en) ? "On" : "Off");
       	break;

    	case '+':
    		debug_mode.filter_id_num++;

            UartPrintf("filter_id_num: %02x\r\n", debug_mode.filter_id_num);
       	break;

    	case '-':
    		debug_mode.filter_id_num--;

            UartPrintf("filter_id_num: %02x\r\n", debug_mode.filter_id_num);
       	break;

    	case '=':
    		debug_mode.filter_id_num += 0x10;

            UartPrintf("filter_id_num: %02x\r\n", debug_mode.filter_id_num);
       	break;

    	case '_':
    		debug_mode.filter_id_num -= 0x10;

            UartPrintf("filter_id_num: %02x\r\n", debug_mode.filter_id_num);
       	break;

    	case 'b':
    		NVIC_SystemReset();
    	break;

    	case 'l':
    		debug_mode.enable_led = !debug_mode.enable_led;
    		UartPrintf("Debug LED mode: %s\r\n", (debug_mode.enable_led) ? "On" : "Off");
    	break;

    	case 'c':
    		reset_count_magic = 0x0;
    	break;

    	case 'm':
    		if(key == 0)
    		{
    			UartPrintf("sending key Mute 0x2b to RCD330\r\n");
    			key = 0x2b;
    			key_hcan = &hcan1;
    		}
    		else
    			UartPrintf("key already being sent (%x)\r\n", key);
    	break;

    	case 'u':
    		if(key == 0)
    		{
    			UartPrintf("sending key Up 0x22 to vehicle\r\n");
    			key = 0x22;
    			key_hcan = &hcan2;
    		}
    		else
    			UartPrintf("key already being sent (%x)\r\n", key);
    	break;

    	case 'd':
    		if(key == 0)
    		{
    			UartPrintf("sending key Down 0x23 to vehicle\r\n");
    			key = 0x23;
    			key_hcan = &hcan2;
    		}
    		else
    			UartPrintf("key already being sent (%x)\r\n", key);
    	break;

    	case 'z':
    		print_flag = !print_flag;
    		if(print_flag)
                UartPrintf("Printing: %s\r\n", (print_flag) ? "On" : "Off");
    	break;

    	case 't':
        	debug_mode.buttons = !debug_mode.buttons;
            UartPrintf("Debug buttons mode: %s\r\n", (debug_mode.buttons) ? "On" : "Off");
     	break;

    	default:
    	break;

    }
    HAL_UART_Receive_IT(&huart4, serial_mode, 1);
}

/* USER CODE END 4 */

void Error_Handler(void)
{
  __disable_irq();
  while (1)
  {
  }
}
